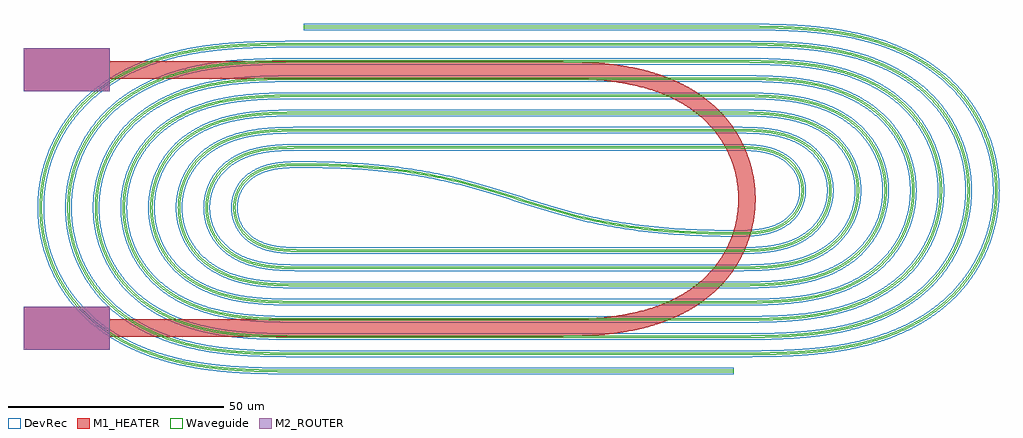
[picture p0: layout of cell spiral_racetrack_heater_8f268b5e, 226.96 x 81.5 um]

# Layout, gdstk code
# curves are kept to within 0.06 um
from math import pi, radians
import gdstk
lib = gdstk.Library(unit=1e-6, precision=1e-09)
def R(c, l, rs):  # rectangles x0, y0, x1, y1
    for r in rs: c.add(gdstk.rectangle(r[:2], r[2:], *l))
def P(c, l, *ps):  # polygons
    for p in ps: c.add(gdstk.Polygon(p, *l))
Waveguide = (1, 0)
M1_HEATER = (11, 0)
M2_ROUTER = (12, 0)
DevRec = (68, 0)

compass_gdsfactorypcomp_ = lib.new_cell('compass_gdsfactorypcomp_b663ba6f')
R(compass_gdsfactorypcomp_, M2_ROUTER, [(-10,-5,10,5)])

c_compass_gdsfactorypcomp_ = lib.new_cell('compass_gdsfactorypcomp_ef1fba86')
R(c_compass_gdsfactorypcomp_, M1_HEATER, [(-10,-5,10,5)])

via_stack_heater_mtop_s2 = lib.new_cell('via_stack_heater_mtop_S20_10')
via_stack_heater_mtop_s2.add(gdstk.Reference(compass_gdsfactorypcomp_, (0,0)))
via_stack_heater_mtop_s2.add(gdstk.Reference(c_compass_gdsfactorypcomp_, (0,0)))

bend_euler_r30_a180_p0p_ = lib.new_cell('bend_euler_R30_A180_P0p_023a6fc5')
P(bend_euler_r30_a180_p0p_, M1_HEATER, [(0,-2),(0,2),(6.838,2.046),(11.908,2.245),(16.75,2.688),(21.017,3.375),(25.023,4.356),(28.584,5.579),(32.122,7.219),(35.151,9.07),(37.674,11.047),(39.825,13.186),(41.616,15.44),(43.29,18.164),(44.549,20.928),(45.468,23.824),(46.052,26.968),(46.235,30),(46.052,33.032),(45.468,36.176),(44.549,39.072),(43.29,41.836),(41.616,44.56),(39.825,46.814),(37.674,48.953),(35.151,50.93),(32.122,52.781),(28.584,54.421),(25.023,55.644),(21.017,56.625),(16.75,57.312),(11.908,57.755),(6.838,57.954),(0,58),(0,62),(7.093,61.95),(12.507,61.725),(17.07,61.303),(21.629,60.582),(25.802,59.583),(29.559,58.334),(33.041,56.808),(36.369,54.925),(38.764,53.239),(41.003,51.331),(42.933,49.338),(44.777,47.017),(46.284,44.683),(47.715,41.878),(48.78,39.112),(49.519,36.433),(50.023,33.513),(50.225,30.741),(50.164,27.963),(49.808,25.021),(49.156,22.129),(48.282,19.492),(47.079,16.783),(45.708,14.366),(44.226,12.238),(42.562,10.248),(40.733,8.419),(38.619,6.649),(36.369,5.075),(34.01,3.693),(31.233,2.35),(28.544,1.291),(25.802,0.417),(22.852,-0.326),(20.053,-0.87),(16.718,-1.345),(13.559,-1.65),(9.533,-1.878)])

straight_gdsfactorypcom_ = lib.new_cell('straight_gdsfactorypcom_262b2f90')
R(straight_gdsfactorypcom_, M1_HEATER, [(0,-2,100,2)])

bend_euler_r38_a180_p0p_ = lib.new_cell('bend_euler_R38_A180_P0p_6c6e3bc8')
P(bend_euler_r38_a180_p0p_, Waveguide, [(0,-0.25),(0,0.25),(8.919,0.313),(15.596,0.588),(21.561,1.147),(26.965,2.015),(31.785,3.167),(36.167,4.603),(38.383,5.499),(40.551,6.505),(42.513,7.541),(44.273,8.586),(46.117,9.817),(47.887,11.15),(49.573,12.587),(51.169,14.129),(52.556,15.647),(53.954,17.383),(55.33,19.35),(56.397,21.109),(57.506,23.238),(58.4,25.28),(59.159,27.375),(59.738,29.349),(60.23,31.523),(60.558,33.554),(60.775,35.772),(60.847,37.829),(60.775,40.228),(60.558,42.446),(60.23,44.477),(59.738,46.651),(59.159,48.625),(58.4,50.72),(57.506,52.762),(56.397,54.891),(55.33,56.65),(53.954,58.617),(52.556,60.353),(51.169,61.871),(49.573,63.413),(47.887,64.85),(46.117,66.183),(44.273,67.414),(42.513,68.459),(40.551,69.495),(38.383,70.501),(36.167,71.397),(31.785,72.833),(26.965,73.985),(21.561,74.853),(15.596,75.412),(8.919,75.687),(0,75.75),(0,76.25),(8.93,76.187),(15.971,75.888),(22.135,75.283),(24.69,74.906),(27.569,74.373),(30.089,73.8),(32.749,73.074),(35.046,72.334),(37.468,71.426),(39.528,70.538),(41.696,69.472),(43.803,68.289),(45.839,66.986),(48.735,64.803),(51.284,62.468),(53.604,59.877),(55.558,57.213),(57.251,54.375),(58.799,51.067),(59.894,47.95),(60.721,44.571),(61.19,41.301),(61.347,37.826),(61.137,34.18),(60.618,30.917),(59.74,27.551),(58.531,24.29),(57.086,21.319),(55.267,18.354),(53.384,15.853),(51.284,13.532),(49,11.419),(46.547,9.509),(43.803,7.711),(40.928,6.134),(37.788,4.705),(34.557,3.499),(31.09,2.458),(27.569,1.627),(23.84,0.959),(20.256,0.49),(15.971,0.112),(11.507,-0.115),(7.212,-0.217)])
P(bend_euler_r38_a180_p0p_, DevRec, [(0,-0.75),(0,0.75),(9.763,0.833),(16.584,1.158),(23.184,1.872),(28.693,2.895),(33.111,4.082),(37.094,5.501),(40.631,7.104),(44.291,9.19),(46.238,10.519),(47.836,11.752),(49.362,13.071),(50.927,14.598),(52.505,16.36),(53.757,17.955),(55.002,19.764),(56.045,21.503),(57.054,23.453),(57.872,25.308),(58.631,27.37),(59.211,29.312),(59.673,31.286),(60.04,33.452),(60.276,35.805),(60.347,37.831),(60.296,39.858),(60.104,42.046),(59.739,44.382),(59.296,46.361),(58.684,48.47),(57.998,50.378),(57.127,52.394),(56.127,54.349),(55.002,56.236),(53.757,58.045),(52.505,59.64),(51.16,61.157),(49.608,62.701),(47.966,64.141),(46.238,65.481),(44.433,66.719),(41.081,68.665),(37.094,70.499),(33.111,71.918),(28.693,73.105),(23.184,74.128),(16.584,74.842),(9.763,75.167),(0,75.25),(0,76.75),(8.94,76.687),(15.488,76.421),(21.685,75.845),(27.16,74.966),(32.391,73.7),(37.17,72.083),(39.26,71.208),(41.619,70.075),(43.759,68.896),(45.831,67.595),(48.784,65.41),(51.39,63.069),(53.657,60.601),(55.779,57.782),(57.609,54.766),(59.06,51.744),(60.27,48.43),(61.108,45.185),(61.653,41.699),(61.847,38.176),(61.688,34.652),(61.212,31.334),(60.373,27.907),(59.128,24.418),(57.609,21.234),(55.877,18.364),(53.993,15.808),(52.009,13.559),(49.589,11.266),(47.121,9.307),(44.359,7.463),(41.463,5.845),(38.3,4.376),(35.045,3.137),(31.722,2.111),(28.179,1.245),(24.258,0.518),(20.482,0.012),(16.178,-0.375),(11.869,-0.602)])

bend_euler_r34_a180_p0p_ = lib.new_cell('bend_euler_R34_A180_P0p_6cc89aa7')
P(bend_euler_r34_a180_p0p_, Waveguide, [(0,-0.25),(0,0.25),(7.91,0.305),(13.916,0.55),(19.383,1.064),(24.121,1.829),(28.287,2.818),(30.58,3.517),(32.515,4.205),(36.277,5.847),(37.941,6.723),(39.704,7.771),(41.265,8.817),(42.9,10.053),(44.328,11.273),(45.8,12.697),(47.063,14.086),(48.239,15.549),(49.416,17.225),(50.48,18.975),(51.275,20.485),(52.116,22.352),(52.831,24.271),(53.372,26.069),(53.802,27.896),(54.165,30.085),(54.358,32.124),(54.416,34),(54.358,35.876),(54.165,37.915),(53.802,40.104),(53.372,41.931),(52.831,43.729),(52.116,45.648),(51.275,47.515),(50.48,49.025),(49.416,50.775),(48.239,52.451),(47.063,53.914),(45.8,55.303),(44.328,56.727),(42.9,57.947),(41.265,59.183),(39.704,60.229),(37.941,61.277),(36.277,62.153),(32.515,63.795),(30.58,64.483),(28.287,65.182),(24.121,66.171),(19.383,66.936),(13.916,67.45),(7.91,67.695),(0,67.75),(0,68.25),(7.921,68.195),(13.949,67.949),(19.446,67.432),(24.388,66.628),(26.917,66.06),(29.087,65.473),(31.229,64.792),(33.499,63.946),(35.406,63.124),(37.424,62.127),(39.234,61.106),(40.985,59.986),(43.348,58.227),(45.671,56.144),(47.778,53.841),(49.643,51.338),(51.249,48.662),(52.512,45.998),(53.569,43.061),(54.326,40.033),(54.776,36.945),(54.916,34),(54.742,30.71),(54.292,27.797),(53.518,24.773),(52.445,21.842),(51.084,19.033),(49.546,16.518),(47.888,14.293),(46.038,12.225),(44.013,10.329),(41.695,8.51),(39.234,6.894),(36.809,5.554),(33.979,4.251),(31.065,3.152),(28.088,2.245),(24.896,1.477),(21.668,0.884),(17.903,0.388),(14.293,0.074),(10.16,-0.134)])
P(bend_euler_r34_a180_p0p_, DevRec, [(0,-0.75),(0,0.75),(8.414,0.816),(14.736,1.108),(20.67,1.744),(25.685,2.674),(29.616,3.732),(33.125,4.981),(36.507,6.523),(39.579,8.284),(41.249,9.421),(42.847,10.655),(45.557,13.166),(46.9,14.667),(48.04,16.12),(49.089,17.639),(50.126,19.367),(51.717,22.698),(52.409,24.59),(52.974,26.523),(53.377,28.325),(53.69,30.315),(53.916,34),(53.69,37.685),(53.377,39.675),(52.974,41.477),(52.409,43.41),(51.717,45.302),(50.126,48.633),(49.089,50.361),(48.04,51.88),(46.9,53.333),(45.557,54.834),(42.847,57.345),(41.249,58.579),(39.579,59.716),(36.507,61.477),(33.125,63.019),(29.616,64.268),(25.685,65.326),(20.67,66.256),(14.736,66.892),(8.414,67.184),(0,67.25),(0,68.75),(8.795,68.675),(14.5,68.413),(19.681,67.906),(24.487,67.118),(29.227,65.953),(33.523,64.475),(37.347,62.732),(40.975,60.596),(43.664,58.615),(45.897,56.623),(48.051,54.295),(49.96,51.763),(51.522,49.207),(52.905,46.353),(53.995,43.375),(54.782,40.303),(55.257,37.167),(55.416,34),(55.257,30.833),(54.782,27.697),(54.047,24.793),(52.973,21.809),(51.69,19.103),(50.059,16.383),(48.497,14.251),(46.519,12.002),(44.605,10.18),(42.271,8.31),(39.791,6.647),(37.035,5.108),(34.333,3.857),(31.391,2.735),(28.556,1.855),(25.169,1.024),(21.746,0.39),(18.474,-0.052),(14.846,-0.388),(10.869,-0.608)])

c_bend_euler_r30_a180_p0p_ = lib.new_cell('bend_euler_R30_A180_P0p_ff04bb2c')
P(c_bend_euler_r30_a180_p0p_, Waveguide, [(0,-0.25),(0,0.25),(6.873,0.296),(12.359,0.52),(17.137,0.973),(21.362,1.659),(25.186,2.581),(28.594,3.706),(32.038,5.206),(34.868,6.788),(36.429,7.829),(37.922,8.964),(39.212,10.077),(40.433,11.268),(41.69,12.668),(42.746,14.014),(44.507,16.743),(45.299,18.259),(45.994,19.823),(46.588,21.426),(47.079,23.065),(47.466,24.731),(47.746,26.418),(47.919,28.12),(47.985,30),(47.919,31.88),(47.746,33.582),(47.466,35.269),(47.079,36.935),(46.588,38.574),(45.994,40.177),(45.299,41.741),(44.507,43.257),(42.746,45.986),(41.69,47.332),(40.433,48.732),(39.212,49.923),(37.922,51.036),(36.429,52.171),(34.868,53.212),(32.038,54.794),(28.594,56.294),(25.186,57.419),(21.362,58.341),(17.137,59.027),(12.359,59.48),(6.873,59.704),(0,59.75),(0,60.25),(7.055,60.2),(12.392,59.979),(17.2,59.523),(21.29,58.865),(25.323,57.9),(27.469,57.23),(29.256,56.575),(32.724,55.006),(34.392,54.086),(36.006,53.071),(38.237,51.424),(40.428,49.451),(42.296,47.384),(43.849,45.283),(45.277,42.891),(46.391,40.527),(47.275,38.069),(47.956,35.367),(48.361,32.61),(48.485,30),(48.361,27.39),(47.956,24.633),(47.275,21.931),(46.391,19.473),(45.277,17.109),(43.849,14.717),(42.296,12.616),(40.794,10.922),(39.033,9.246),(37.14,7.727),(34.986,6.272),(32.416,4.836),(29.898,3.684),(27.469,2.77),(24.823,1.961),(21.968,1.273),(19.08,0.744),(15.829,0.316),(12.392,0.021),(9.294,-0.136)])
P(c_bend_euler_r30_a180_p0p_, DevRec, [(0,-0.75),(0,0.75),(7.889,0.82),(13.177,1.079),(18.252,1.63),(22.754,2.471),(26.022,3.351),(29.359,4.544),(32.265,5.882),(35.028,7.482),(37.736,9.458),(40.305,11.859),(42.343,14.31),(44.154,17.135),(45.531,20.011),(46.596,23.193),(47.272,26.651),(47.485,30),(47.272,33.349),(46.596,36.807),(45.531,39.989),(44.154,42.865),(42.343,45.69),(40.305,48.141),(37.736,50.542),(35.028,52.518),(32.265,54.118),(29.359,55.456),(26.022,56.649),(22.754,57.529),(18.252,58.37),(13.177,58.921),(7.889,59.18),(0,59.25),(0,60.75),(7.066,60.7),(12.252,60.489),(16.918,60.062),(21.216,59.389),(25.292,58.428),(29.275,57.104),(32.798,55.531),(36.138,53.584),(38.415,51.923),(40.53,50.053),(42.343,48.109),(44.065,45.854),(45.551,43.437),(46.715,41.045),(47.7,38.385),(48.375,35.812),(48.803,33.186),(48.984,30.177),(48.875,27.52),(48.48,24.71),(47.804,21.954),(46.853,19.282),(45.719,16.875),(44.264,14.439),(42.795,12.438),(41.154,10.575),(39.362,8.869),(37.295,7.221),(35.099,5.755),(32.798,4.469),(30.251,3.29),(27.63,2.297),(25.124,1.525),(22.241,0.82),(19.158,0.25),(16.228,-0.143),(12.944,-0.442),(9.485,-0.629)])

bend_euler_r18_a180_p0p_ = lib.new_cell('bend_euler_R18_A180_P0p_a0bb4d7d')
P(bend_euler_r18_a180_p0p_, Waveguide, [(0,-0.25),(0,0.25),(4.133,0.278),(7.395,0.411),(10.467,0.709),(13.166,1.17),(15.32,1.713),(17.419,2.432),(19.286,3.267),(21.06,4.279),(22.713,5.475),(24.213,6.856),(25.534,8.423),(26.646,10.146),(27.529,11.995),(28.171,13.942),(28.56,15.954),(28.691,18),(28.56,20.046),(28.171,22.058),(27.529,24.005),(26.646,25.854),(25.534,27.577),(24.213,29.144),(22.713,30.525),(21.06,31.721),(19.286,32.733),(17.419,33.568),(15.32,34.287),(13.166,34.83),(10.467,35.291),(7.395,35.589),(4.133,35.722),(0,35.75),(0,36.25),(4.143,36.222),(7.427,36.088),(10.188,35.831),(12.93,35.39),(15.462,34.766),(17.764,33.969),(19.822,33.019),(21.622,31.95),(23.029,30.913),(24.203,29.865),(25.281,28.704),(26.244,27.444),(27.167,25.944),(27.858,24.517),(28.463,22.862),(28.854,21.326),(29.115,19.584),(29.191,18),(29.115,16.416),(28.889,14.847),(28.514,13.306),(27.927,11.645),(27.251,10.211),(26.343,8.702),(25.505,7.568),(24.574,6.51),(23.43,5.424),(22.196,4.449),(20.885,3.581),(19.511,2.821),(18.087,2.164),(16.457,1.548),(14.792,1.045),(13.1,0.645),(9.499,0.089),(5.699,-0.177)])
P(bend_euler_r18_a180_p0p_, DevRec, [(0,-0.75),(0,0.75),(7.192,0.899),(9.729,1.121),(12.236,1.494),(14.695,2.055),(16.924,2.777),(18.912,3.639),(20.929,4.79),(22.524,5.967),(23.966,7.322),(25.23,8.854),(26.289,10.534),(27.186,12.49),(27.728,14.228),(28.085,16.182),(28.191,18),(28.085,19.818),(27.728,21.772),(27.186,23.51),(26.289,25.466),(25.23,27.146),(23.966,28.678),(22.524,30.033),(20.929,31.21),(18.912,32.361),(16.924,33.223),(14.695,33.945),(12.236,34.506),(9.729,34.879),(7.192,35.101),(0,35.25),(0,36.75),(4.153,36.722),(7.46,36.587),(10.598,36.283),(13.029,35.88),(15.433,35.295),(17.62,34.563),(19.737,33.625),(21.751,32.465),(23.344,31.301),(24.553,30.222),(25.663,29.026),(26.655,27.728),(27.519,26.342),(28.246,24.88),(28.831,23.355),(29.307,21.604),(29.595,19.812),(29.69,18.182),(29.629,16.549),(29.413,14.93),(29.044,13.34),(28.524,11.791),(27.777,10.138),(26.958,8.725),(26.119,7.539),(25.06,6.296),(23.893,5.165),(22.778,4.256),(20.212,2.622),(18.608,1.843),(16.953,1.191),(13.547,0.229),(9.727,-0.389),(5.544,-0.683)])

bend_euler_r10_a180_p0p_ = lib.new_cell('bend_euler_R10_A180_P0p_30772b39')
P(bend_euler_r10_a180_p0p_, Waveguide, [(0,-0.25),(0,0.25),(4.503,0.368),(6.214,0.563),(7.73,0.858),(9.845,1.539),(11.655,2.481),(12.614,3.182),(13.475,3.996),(14.121,4.779),(14.755,5.779),(15.188,6.697),(15.556,7.822),(15.77,8.987),(15.828,10),(15.77,11.013),(15.556,12.178),(15.188,13.303),(14.755,14.221),(14.121,15.221),(13.475,16.004),(12.614,16.818),(11.655,17.519),(9.845,18.461),(7.73,19.142),(6.214,19.437),(4.503,19.632),(0,19.75),(0,20.25),(4.192,20.156),(7.158,19.779),(8.531,19.447),(9.707,19.055),(10.844,18.555),(12.075,17.842),(13.594,16.602),(14.73,15.224),(15.583,13.655),(16.122,11.953),(16.267,11.071),(16.328,10),(16.157,8.222),(15.893,7.183),(15.583,6.345),(14.73,4.776),(13.594,3.398),(12.368,2.361),(10.844,1.445),(9.207,0.765),(7.331,0.256),(5.417,-0.047),(2.967,-0.217)])
P(bend_euler_r10_a180_p0p_, DevRec, [(0,-0.75),(0,0.75),(4.125,0.842),(6.962,1.201),(8.413,1.56),(9.501,1.939),(10.686,2.489),(11.653,3.081),(12.538,3.776),(13.215,4.454),(13.901,5.336),(14.39,6.159),(15.071,7.945),(15.273,9.044),(15.328,10),(15.273,10.956),(15.071,12.055),(14.39,13.841),(13.901,14.664),(13.215,15.546),(12.538,16.224),(11.653,16.919),(10.686,17.511),(9.501,18.061),(8.413,18.44),(6.962,18.799),(4.125,19.158),(0,19.25),(0,20.75),(4.226,20.655),(7.255,20.27),(9.886,19.521),(11.068,19.002),(12.197,18.36),(13.813,17.087),(15.037,15.659),(15.968,14.024),(16.611,12.057),(16.828,10),(16.648,8.127),(16.115,6.323),(15.248,4.653),(14.209,3.316),(12.811,2.065),(11.233,1.082),(9.541,0.351),(7.61,-0.196),(5.473,-0.544),(3.161,-0.71)])

bend_euler_r14_a180_p0p_ = lib.new_cell('bend_euler_R14_A180_P0p_6c08a4f0')
P(bend_euler_r14_a180_p0p_, Waveguide, [(0,-0.25),(0,0.25),(3.611,0.281),(6.008,0.393),(8.389,0.641),(10.404,1.002),(12.052,1.431),(13.656,1.994),(15.046,2.627),(16.368,3.387),(17.602,4.278),(18.847,5.428),(19.837,6.614),(20.674,7.914),(21.343,9.307),(21.835,10.772),(22.164,12.457),(22.259,14),(22.164,15.543),(21.835,17.228),(21.343,18.693),(20.674,20.086),(19.837,21.386),(18.847,22.572),(17.602,23.722),(16.368,24.613),(15.046,25.373),(13.656,26.006),(12.052,26.569),(10.404,26.998),(8.389,27.359),(6.008,27.607),(3.611,27.719),(0,27.75),(0,28.25),(3.278,28.227),(5.871,28.118),(8.287,27.878),(10.172,27.559),(12.03,27.097),(13.843,26.469),(15.429,25.738),(16.931,24.841),(18.053,23.999),(18.96,23.172),(19.801,22.246),(20.549,21.243),(21.196,20.173),(21.738,19.046),(22.168,17.872),(22.519,16.487),(22.699,15.249),(22.759,14),(22.699,12.751),(22.519,11.513),(22.168,10.128),(21.738,8.954),(21.196,7.827),(20.549,6.757),(19.914,5.893),(19.086,4.956),(17.361,3.462),(15.274,2.182),(12.861,1.166),(10.172,0.441),(7.253,-0.001),(4.142,-0.204)])
P(bend_euler_r14_a180_p0p_, DevRec, [(0,-0.75),(0,0.75),(5.465,0.858),(7.819,1.07),(9.806,1.388),(11.588,1.816),(13.316,2.397),(14.964,3.148),(16.37,3.987),(17.538,4.875),(18.596,5.893),(19.531,7.044),(20.317,8.303),(20.941,9.649),(21.393,11.061),(21.668,12.519),(21.759,14),(21.668,15.481),(21.393,16.939),(20.941,18.351),(20.317,19.697),(19.531,20.956),(18.596,22.107),(17.538,23.125),(16.37,24.013),(14.964,24.852),(13.316,25.603),(11.588,26.184),(9.806,26.612),(7.819,26.93),(5.465,27.142),(0,27.25),(0,28.75),(5.905,28.617),(7.829,28.44),(9.925,28.117),(11.828,27.675),(13.696,27.064),(15.341,26.344),(16.91,25.454),(17.947,24.724),(19.053,23.78),(19.947,22.847),(20.859,21.676),(21.546,20.574),(22.125,19.411),(22.589,18.198),(22.933,16.946),(23.178,15.482),(23.258,14.186),(23.213,12.888),(23.044,11.6),(22.751,10.335),(22.338,9.103),(21.808,7.918),(21.066,6.632),(19.573,4.741),(17.802,3.166),(15.661,1.82),(13.191,0.751),(10.62,0.026),(7.654,-0.46),(4.508,-0.691)])

bend_euler_r22_a180_p0p_ = lib.new_cell('bend_euler_R22_A180_P0p_a5f53e23')
P(bend_euler_r22_a180_p0p_, Waveguide, [(0,-0.25),(0,0.25),(4.998,0.283),(9.123,0.452),(12.883,0.822),(15.927,1.338),(18.587,1.996),(21.181,2.87),(23.525,3.908),(25.608,5.08),(27.691,6.564),(29.579,8.285),(31.231,10.233),(32.618,12.377),(33.716,14.683),(34.507,17.111),(34.957,19.452),(35.122,22),(34.957,24.548),(34.507,26.889),(33.716,29.317),(32.618,31.623),(31.231,33.767),(29.579,35.715),(27.691,37.436),(25.608,38.92),(23.525,40.092),(21.181,41.13),(18.587,42.004),(15.927,42.662),(12.883,43.178),(9.123,43.548),(4.998,43.717),(0,43.75),(0,44.25),(5.008,44.217),(9.156,44.047),(12.434,43.74),(15.518,43.254),(18.559,42.532),(21.362,41.596),(23.905,40.461),(26.459,38.962),(28.14,37.716),(29.57,36.435),(30.874,35.025),(32.138,33.353),(33.139,31.714),(34.048,29.826),(34.706,28.021),(35.225,25.991),(35.514,24.092),(35.622,22),(35.514,19.908),(35.225,18.009),(34.706,15.979),(34.048,14.174),(33.139,12.286),(32.138,10.647),(31.097,9.245),(29.817,7.812),(28.408,6.507),(27.032,5.436),(25.429,4.383),(23.905,3.539),(22.008,2.664),(20.054,1.931),(18.056,1.329),(16.198,0.884),(13.979,0.476),(11.573,0.161),(6.909,-0.163)])
P(bend_euler_r22_a180_p0p_, DevRec, [(0,-0.75),(0,0.75),(5.331,0.79),(8.749,0.929),(12.142,1.232),(15.161,1.696),(17.961,2.339),(20.686,3.216),(23.151,4.28),(25.622,5.683),(27.636,7.164),(29.335,8.752),(30.928,10.664),(32.261,12.766),(33.251,14.868),(34.023,17.235),(34.482,19.681),(34.622,22),(34.482,24.319),(34.023,26.765),(33.251,29.132),(32.261,31.234),(30.928,33.336),(29.335,35.248),(27.636,36.836),(25.622,38.317),(23.151,39.72),(20.686,40.784),(17.961,41.661),(15.161,42.304),(12.142,42.768),(8.749,43.071),(5.331,43.21),(0,43.25),(0,44.75),(5.018,44.717),(9.016,44.557),(12.495,44.236),(15.786,43.711),(18.865,42.965),(21.543,42.062),(24.132,40.906),(26.59,39.476),(28.178,38.327),(29.792,36.916),(31.141,35.483),(32.451,33.781),(33.491,32.11),(34.439,30.184),(35.129,28.341),(35.679,26.265),(35.992,24.322),(36.121,22.179),(36.029,20.034),(35.749,18.086),(35.287,16.173),(34.577,14.146),(33.663,12.204),(32.652,10.515),(31.597,9.069),(30.299,7.59),(29.002,6.358),(27.468,5.134),(25.99,4.14),(24.29,3.175),(22.363,2.271),(20.547,1.571),(18.526,0.939),(16.474,0.432),(11.974,-0.298),(6.755,-0.669)])

bend_euler_r26_a180_p0p_ = lib.new_cell('bend_euler_R26_A180_P0p_422f2fe6')
P(bend_euler_r26_a180_p0p_, Waveguide, [(0,-0.25),(0,0.25),(6.008,0.291),(10.802,0.49),(15.06,0.904),(18.769,1.524),(21.92,2.298),(24.993,3.328),(27.647,4.49),(30.321,5.986),(32.811,7.768),(34.948,9.716),(35.986,10.859),(36.947,12.067),(38.535,14.512),(39.807,17.134),(40.742,19.895),(41.096,21.398),(41.35,22.921),(41.553,25.828),(41.513,27.372),(41.372,28.909),(40.829,31.773),(39.935,34.547),(39.323,35.965),(38.619,37.339),(37.826,38.663),(36.947,39.933),(35.067,42.16),(32.943,44.125),(30.321,46.014),(27.647,47.51),(24.993,48.672),(21.92,49.702),(18.769,50.476),(15.06,51.096),(10.802,51.51),(6.008,51.709),(0,51.75),(0,52.25),(6.018,52.209),(10.663,52.02),(14.783,51.636),(18.532,51.034),(21.892,50.23),(25.334,49.076),(28.486,47.645),(31.314,45.962),(33.394,44.401),(35.061,42.882),(36.703,41.061),(38.054,39.227),(39.306,37.119),(40.269,35.055),(41.032,32.909),(41.62,30.529),(41.945,28.275),(42.053,25.825),(41.909,23.377),(41.551,21.128),(40.928,18.756),(40.134,16.622),(39.141,14.572),(37.858,12.482),(36.48,10.669),(35.061,9.118),(33.527,7.711),(31.883,6.434),(29.998,5.201),(28.023,4.119),(25.976,3.184),(23.709,2.333),(21.392,1.632),(18.87,1.034),(16.492,0.604),(13.926,0.263),(11.179,0.015),(8.083,-0.15)])
P(bend_euler_r26_a180_p0p_, DevRec, [(0,-0.75),(0,0.75),(6.851,0.811),(11.786,1.064),(16.002,1.541),(19.987,2.307),(22.909,3.122),(25.592,4.107),(28.023,5.242),(30.335,6.589),(32.754,8.368),(34.822,10.307),(36.645,12.501),(38.182,14.904),(39.407,17.48),(40.303,20.188),(40.854,22.987),(41.053,25.832),(40.896,28.68),(40.386,31.487),(39.53,34.208),(38.263,36.949),(36.744,39.363),(34.822,41.693),(32.754,43.632),(30.335,45.411),(28.023,46.758),(25.592,47.893),(22.909,48.878),(19.987,49.693),(16.002,50.459),(11.786,50.936),(6.851,51.189),(0,51.25),(0,52.75),(6.028,52.709),(10.696,52.519),(14.845,52.132),(18.629,51.525),(22.196,50.663),(25.517,49.541),(28.561,48.169),(31.3,46.572),(33.44,45.01),(35.162,43.484),(36.748,41.789),(38.168,39.948),(39.406,37.98),(40.523,35.739),(41.404,33.396),(42.003,31.149),(42.406,28.678),(42.551,26.358),(42.459,23.856),(42.144,21.552),(41.611,19.289),(40.799,16.921),(39.749,14.648),(38.569,12.645),(37.315,10.903),(35.913,9.278),(34.384,7.792),(32.602,6.34),(30.706,5.047),(28.717,3.912),(26.653,2.928),(24.2,1.972),(21.691,1.195),(19.142,0.58),(16.569,0.11),(13.981,-0.234),(7.928,-0.656)])

straight_l100_csstrip_wn = lib.new_cell('straight_L100_CSstrip_WNone_N2')
R(straight_l100_csstrip_wn, Waveguide, [(0,-0.25,100,0.25)])
R(straight_l100_csstrip_wn, DevRec, [(0,-0.75,100,0.75)])

bend_s_s100_m16_csstrip_ = lib.new_cell('bend_s_S100_m16_CSstrip_ac54398d')
P(bend_s_s100_m16_csstrip_, Waveguide, [(100,-16.25),(92.716,-16.129),(86.132,-15.784),(80.169,-15.239),(73.721,-14.358),(67.916,-13.27),(61.774,-11.8),(56.104,-10.181),(45.311,-6.777),(40.564,-5.36),(35.546,-4.033),(30.116,-2.838),(24.136,-1.818),(18.633,-1.135),(13.833,-0.715),(9.973,-0.483),(4.449,-0.294),(0,-0.25),(0,0.25),(7.284,0.129),(13.868,-0.216),(19.831,-0.761),(26.279,-1.642),(32.084,-2.73),(38.226,-4.2),(43.896,-5.819),(54.689,-9.223),(59.436,-10.64),(64.454,-11.967),(69.884,-13.162),(75.864,-14.182),(81.367,-14.865),(86.167,-15.285),(90.027,-15.517),(95.551,-15.706),(100,-15.75)])
P(bend_s_s100_m16_csstrip_, DevRec, [(100,-16.75),(92.698,-16.629),(84.852,-16.188),(77.876,-15.467),(71.633,-14.508),(65.989,-13.357),(60.809,-12.059),(55.173,-10.42),(41.232,-6.072),(36.285,-4.731),(31.876,-3.708),(25.101,-2.468),(17.42,-1.517),(8.613,-0.922),(0,-0.75),(0,0.75),(7.302,0.629),(15.148,0.188),(22.124,-0.533),(28.367,-1.492),(34.011,-2.643),(39.191,-3.941),(44.827,-5.58),(58.768,-9.928),(63.715,-11.269),(68.124,-12.292),(74.899,-13.532),(82.58,-14.483),(91.387,-15.078),(100,-15.25)])

spiral_racetrack_gdsfac_ = lib.new_cell('spiral_racetrack_gdsfac_5d4cf290')
spiral_racetrack_gdsfac_.add(gdstk.Reference(bend_euler_r38_a180_p0p_, (0,28), rotation=pi))
spiral_racetrack_gdsfac_.add(gdstk.Reference(bend_euler_r34_a180_p0p_, (100,-40)))
spiral_racetrack_gdsfac_.add(gdstk.Reference(c_bend_euler_r30_a180_p0p_, (0,20), rotation=pi))
spiral_racetrack_gdsfac_.add(gdstk.Reference(bend_euler_r18_a180_p0p_, (100,-24)))
spiral_racetrack_gdsfac_.add(gdstk.Reference(bend_euler_r10_a180_p0p_, (100,-16)))
spiral_racetrack_gdsfac_.add(gdstk.Reference(bend_euler_r38_a180_p0p_, (100,-44)))
spiral_racetrack_gdsfac_.add(gdstk.Reference(bend_euler_r34_a180_p0p_, (0,24), rotation=pi))
spiral_racetrack_gdsfac_.add(gdstk.Reference(bend_euler_r14_a180_p0p_, (0,4), rotation=pi))
spiral_racetrack_gdsfac_.add(gdstk.Reference(bend_euler_r22_a180_p0p_, (100,-28)))
spiral_racetrack_gdsfac_.add(gdstk.Reference(bend_euler_r26_a180_p0p_, (100,-32)))
spiral_racetrack_gdsfac_.add(gdstk.Reference(bend_euler_r18_a180_p0p_, (0,8), rotation=pi))
spiral_racetrack_gdsfac_.add(gdstk.Reference(bend_euler_r26_a180_p0p_, (0,16), rotation=pi))
spiral_racetrack_gdsfac_.add(gdstk.Reference(c_bend_euler_r30_a180_p0p_, (100,-36)))
spiral_racetrack_gdsfac_.add(gdstk.Reference(straight_l100_csstrip_wn, (100,4), rotation=pi))
spiral_racetrack_gdsfac_.add(gdstk.Reference(straight_l100_csstrip_wn, (100,8), rotation=pi))
spiral_racetrack_gdsfac_.add(gdstk.Reference(straight_l100_csstrip_wn, (100,12), rotation=pi))
spiral_racetrack_gdsfac_.add(gdstk.Reference(straight_l100_csstrip_wn, (100,16), rotation=pi))
spiral_racetrack_gdsfac_.add(gdstk.Reference(straight_l100_csstrip_wn, (100,20), rotation=pi))
spiral_racetrack_gdsfac_.add(gdstk.Reference(straight_l100_csstrip_wn, (100,24), rotation=pi))
spiral_racetrack_gdsfac_.add(gdstk.Reference(straight_l100_csstrip_wn, (100,28), rotation=pi))
spiral_racetrack_gdsfac_.add(gdstk.Reference(straight_l100_csstrip_wn, (100,32), rotation=pi))
spiral_racetrack_gdsfac_.add(gdstk.Reference(bend_euler_r22_a180_p0p_, (0,12), rotation=pi))
spiral_racetrack_gdsfac_.add(gdstk.Reference(straight_l100_csstrip_wn, (0,-48)))
spiral_racetrack_gdsfac_.add(gdstk.Reference(straight_l100_csstrip_wn, (0,-44)))
spiral_racetrack_gdsfac_.add(gdstk.Reference(straight_l100_csstrip_wn, (0,-40)))
spiral_racetrack_gdsfac_.add(gdstk.Reference(straight_l100_csstrip_wn, (0,-36)))
spiral_racetrack_gdsfac_.add(gdstk.Reference(straight_l100_csstrip_wn, (0,-32)))
spiral_racetrack_gdsfac_.add(gdstk.Reference(straight_l100_csstrip_wn, (0,-28)))
spiral_racetrack_gdsfac_.add(gdstk.Reference(straight_l100_csstrip_wn, (0,-24)))
spiral_racetrack_gdsfac_.add(gdstk.Reference(straight_l100_csstrip_wn, (0,-20)))
spiral_racetrack_gdsfac_.add(gdstk.Reference(bend_s_s100_m16_csstrip_, (0,0)))
spiral_racetrack_gdsfac_.add(gdstk.Reference(bend_euler_r10_a180_p0p_, (0,0), rotation=pi))
spiral_racetrack_gdsfac_.add(gdstk.Reference(bend_euler_r14_a180_p0p_, (100,-20)))

spiral_racetrack_heater_ = lib.new_cell('spiral_racetrack_heater_8f268b5e')
spiral_racetrack_heater_.add(gdstk.Reference(via_stack_heater_mtop_s2, (-55.117,-38)))
spiral_racetrack_heater_.add(gdstk.Reference(via_stack_heater_mtop_s2, (-55.117,22)))
spiral_racetrack_heater_.add(gdstk.Reference(bend_euler_r30_a180_p0p_, (54.883,-38)))
spiral_racetrack_heater_.add(gdstk.Reference(straight_gdsfactorypcom_, (54.883,-38), rotation=pi))
spiral_racetrack_heater_.add(gdstk.Reference(straight_gdsfactorypcom_, (54.883,22), rotation=pi))
spiral_racetrack_heater_.add(gdstk.Reference(spiral_racetrack_gdsfac_, (0,0)))

lib.write_gds('spiral_racetrack_heater_8f268b5e.gds')
